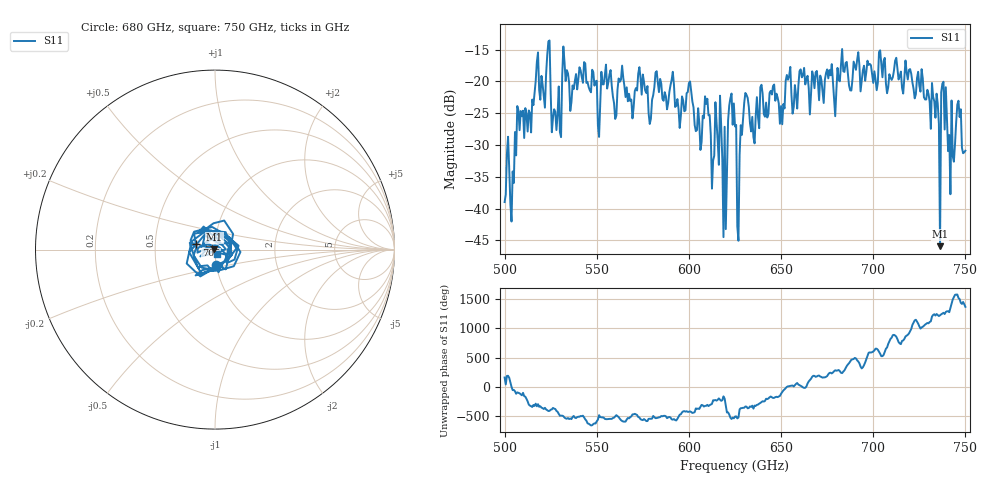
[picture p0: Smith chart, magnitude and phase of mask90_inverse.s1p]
!Created with skrf (http://scikit-rf.org).
# GHz S MA R 50.0
!freq magS11 angS11
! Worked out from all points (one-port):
!   401 points, 500 GHz to 750 GHz, reference 50 ohm
!   lowest |S11| = -45.9 dB at 736.2 GHz (marker M1), VSWR 1.01, Z = 49.6 + j0.273 ohm
!   |S11| at or under -10 dB: start of sweep to end of sweep
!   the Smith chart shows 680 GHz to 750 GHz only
!   S11 on the Smith chart (normalised r, x): 680 GHz: 1.00, -0.17; 705 GHz: 0.81, +0.05; 750 GHz: 1.02, -0.05
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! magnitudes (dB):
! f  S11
! 500 GHz  -39.0
! 517.5 GHz  -16.9
! 523.8 GHz  -13.7
! 526.9 GHz  -24.4
! 531.2 GHz  -19.1
! 556.2 GHz  -20.2
! 560 GHz  -25.9
! 562.5 GHz  -20.0
! 593.8 GHz  -22.8
! 610 GHz  -22.7
! 612.5 GHz  -36.9
! 616.2 GHz  -33.1
! 619.4 GHz  -27.1
! 622.5 GHz  -22.6
! 625 GHz  -27.1
! 627.5 GHz  -31.6
! 631.2 GHz  -22.1
! 634.4 GHz  -25.6
! 656.2 GHz  -25.1
! 680 GHz  -21.4
! 687.5 GHz  -21.4
! 705 GHz  -19.3
! 718.8 GHz  -19.7
! 736.2 GHz  -45.9
! 738.1 GHz  -20.0
! 741.9 GHz  -37.7
! 746.2 GHz  -23.0
! 750 GHz  -30.9
